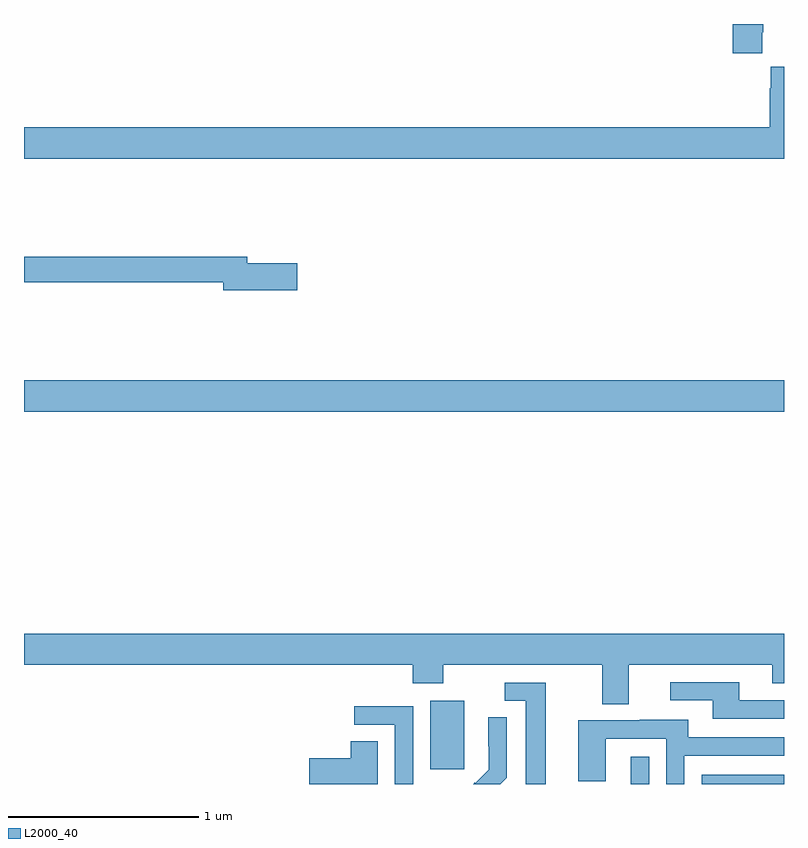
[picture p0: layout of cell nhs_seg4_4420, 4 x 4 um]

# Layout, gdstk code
import gdstk
lib = gdstk.Library(unit=1e-6, precision=1e-09)
def R(c, l, rs):  # rectangles x0, y0, x1, y1
    for r in rs: c.add(gdstk.rectangle(r[:2], r[2:], *l))
def P(c, l, *ps):  # polygons
    for p in ps: c.add(gdstk.Polygon(p, *l))
L2000_40 = (2000, 40)

nhs_seg4_4420 = lib.new_cell('nhs_seg4_4420')
R(nhs_seg4_4420, L2000_40, [(352.193,754.9,352.29,755.044), (352.566,754.9,353,754.95), (351.137,754.977,351.316,755.338), (349,756.86,353,757.024)])
P(nhs_seg4_4420, L2000_40, [(352.885,758.857),(352.89,758.857),(352.89,758.9),(352.73,758.9),(352.73,758.745),(352.885,758.745)],
  [(353,758.674),(352.931,758.674),(352.931,758.561),(352.925,758.561),(352.925,758.356),(349,758.356),(349,758.192),(353,758.192)],
  [(350.437,757.64),(350.176,757.64),(350.176,757.676),(349,757.676),(349,757.54),(350.048,757.54),(350.048,757.498),(350.437,757.498)],
  [(352.183,755.528),(352.937,755.528),(352.937,755.429),(353,755.429),(353,755.692),(349,755.692),(349,755.528),(351.047,755.528),(351.047,755.429),(351.207,755.429),(351.207,755.528),(352.043,755.528),(352.043,755.32),(352.183,755.32)],
  [(353,755.34),(352.765,755.34),(352.765,755.436),(352.401,755.436),(352.401,755.34),(352.625,755.34),(352.625,755.244),(353,755.244)],
  [(351.745,755.433),(351.531,755.433),(351.531,755.337),(351.641,755.337),(351.641,754.9),(351.745,754.9)],
  [(351.048,755.31),(350.739,755.31),(350.739,755.211),(350.952,755.211),(350.952,754.9),(351.048,754.9)],
  [(351.54,754.934),(351.54,755.252),(351.444,755.252),(351.444,755.098),(351.446,755.098),(351.446,754.976),(351.375,754.905),(351.372,754.908),(351.364,754.9),(351.506,754.9)],
  [(352.476,755.049),(353,755.049),(353,755.145),(352.495,755.145),(352.495,755.239),(352.241,755.239),(352.241,755.235),(351.917,755.235),(351.917,754.915),(352.062,754.915),(352.062,755.139),(352.38,755.139),(352.38,754.9),(352.476,754.9)],
  [(350.863,755.126),(350.72,755.126),(350.72,755.036),(350.502,755.036),(350.502,754.9),(350.863,754.9)])

lib.write_gds('nhs_seg4_4420.gds')
